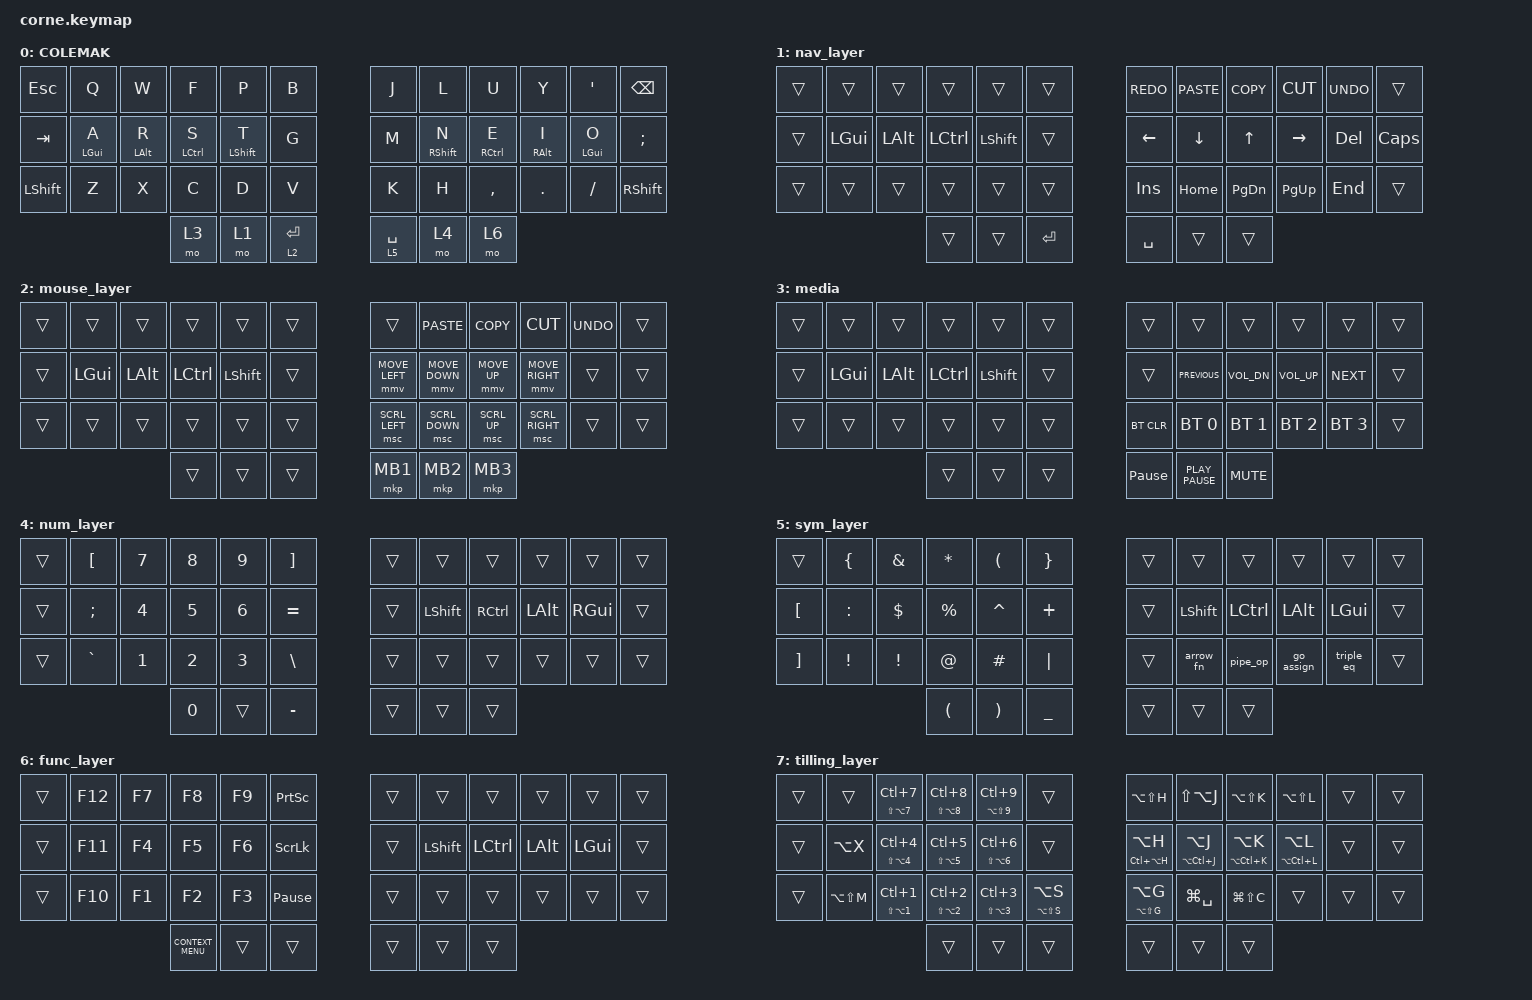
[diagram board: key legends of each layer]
/*
 * José's Corne 42-Key ZMK Configuration
 * =====================================
 * 
 * Layout: Colemak-DH with timeless home row mods
 * Optimized for: macOS, programming (JS/TS, Go, Elixir), Aerospace window management
 * 
 * Physical Layout: 6 columns × 3 rows + 3 thumb keys per side = 42 keys
 * 
 * Layer Overview:
 * 0: COLEMAK-DH (base with HRM)
 * 1: NAV (Neovim-style navigation + editing)
 * 2: NUM (numbers + F-keys)
 * 3: SYM (symbols, optimized for coding)
 * 4: FUN (function keys, BT, media, settings)
 * 5: AERO (Aerospace window management)
 * 6: MOUSE (mouse emulation with Neovim-style movement)
 */

#include <behaviors.dtsi>
#include <dt-bindings/zmk/bt.h>
#include <dt-bindings/zmk/keys.h>
#include <dt-bindings/zmk/pointing.h>

/* Layer definitions */

#define COLEMAK 0
#define NAV     1
#define NUM     2
#define SYM     3
#define FUN     4
#define AERO    5
#define MOUSE   6

/* Key position groups for positional hold-tap (42-key Corne)
 * ╭─────┬─────┬─────┬─────┬─────┬─────╮   ╭─────┬─────┬─────┬─────┬─────┬─────╮
 * │  0  │  1  │  2  │  3  │  4  │  5  │   │  6  │  7  │  8  │  9  │ 10  │ 11  │
 * ├─────┼─────┼─────┼─────┼─────┼─────┤   ├─────┼─────┼─────┼─────┼─────┼─────┤
 * │ 12  │ 13  │ 14  │ 15  │ 16  │ 17  │   │ 18  │ 19  │ 20  │ 21  │ 22  │ 23  │
 * ├─────┼─────┼─────┼─────┼─────┼─────┤   ├─────┼─────┼─────┼─────┼─────┼─────┤
 * │ 24  │ 25  │ 26  │ 27  │ 28  │ 29  │   │ 30  │ 31  │ 32  │ 33  │ 34  │ 35  │
 * ╰─────┴─────┴─────┼─────┼─────┼─────┤   ├─────┼─────┼─────┼─────┴─────┴─────╯
 *                   │ 36  │ 37  │ 38  │   │ 39  │ 40  │ 41  │
 *                   ╰─────┴─────┴─────╯   ╰─────┴─────┴─────╯
 */

#define KEYS_L 0 1 2 3 4 5 12 13 14 15 16 17 24 25 26 27 28 29      // left hand
#define KEYS_R 6 7 8 9 10 11 18 19 20 21 22 23 30 31 32 33 34 35    // right hand
#define THUMBS 36 37 38 39 40 41                                     // thumb keys

/* Timing configurations for timeless HRM */

#define HRM_TAPPING_TERM 280
#define HRM_QUICK_TAP    175
#define COMBO_TERM       40

/* Mac-specific shortcuts */

#define MAC_UNDO   LG(Z)
#define MAC_REDO   LG(LS(Z))
#define MAC_CUT    LG(X)
#define MAC_COPY   LG(C)
#define MAC_PASTE  LG(V)
#define MAC_SELALL LG(A)
#define MAC_SAVE   LG(S)
#define MAC_FIND   LG(F)
#define MAC_QUIT   LG(Q)
#define MAC_CLOSE  LG(W)
#define MAC_TAB_L  LG(LS(LBKT))
#define MAC_TAB_R  LG(LS(RBKT))
#define MAC_SCRN   LG(LS(N4))      // Screenshot selection (Cmd+Shift+4)
#define MAC_SCRN_F LG(LS(N3))      // Screenshot full (Cmd+Shift+3)
#define MAC_RAYC   LG(SPACE)       // Raycast (Cmd+Space)
#define MAC_MACCY  LG(LS(C))       // Maccy clipboard (Cmd+Shift+C)

/ {
    /* ========================================
     * BEHAVIORS - Custom tap-hold behaviors
     * ======================================== */

    behaviors {
        /* Timeless Home Row Mods - Left hand */

        hml: home_row_mod_left {
            compatible = "zmk,behavior-hold-tap";
            #binding-cells = <2>;
            flavor = "balanced";
            tapping-term-ms = <HRM_TAPPING_TERM>;
            quick-tap-ms = <HRM_QUICK_TAP>;
            require-prior-idle-ms = <150>;
            bindings = <&kp>, <&kp>;

            hold-trigger-key-positions = <KEYS_R THUMBS>;
            hold-trigger-on-release;
        };

        /* Timeless Home Row Mods - Right hand */

        hmr: home_row_mod_right {
            compatible = "zmk,behavior-hold-tap";
            #binding-cells = <2>;
            flavor = "balanced";
            tapping-term-ms = <HRM_TAPPING_TERM>;
            quick-tap-ms = <HRM_QUICK_TAP>;
            require-prior-idle-ms = <150>;
            bindings = <&kp>, <&kp>;

            hold-trigger-key-positions = <KEYS_L THUMBS>;
            hold-trigger-on-release;
        };

        /* Home Row Mod for Shift - no prior idle requirement for CamelCase */

        hms: home_row_mod_shift {
            compatible = "zmk,behavior-hold-tap";
            #binding-cells = <2>;
            flavor = "balanced";
            tapping-term-ms = <HRM_TAPPING_TERM>;
            quick-tap-ms = <HRM_QUICK_TAP>;
            bindings = <&kp>, <&kp>;

            hold-trigger-on-release;
        };

        /* Layer tap with quick-tap for key repeat */

        ltq: layer_tap_quick {
            compatible = "zmk,behavior-hold-tap";
            #binding-cells = <2>;
            flavor = "balanced";
            tapping-term-ms = <200>;
            quick-tap-ms = <200>;
            bindings = <&mo>, <&kp>;
        };

        /* Sticky key with quick release */

        skq: sticky_key_quick {
            compatible = "zmk,behavior-sticky-key";
            #binding-cells = <1>;
            bindings = <&kp>;
            release-after-ms = <1000>;
            quick-release;
            ignore-modifiers;
        };

        /* Caps word - stays active for SNAKE_CASE typing */

        caps_word: caps_word {
            compatible = "zmk,behavior-caps-word";
            #binding-cells = <0>;
            continue-list = <UNDERSCORE MINUS BACKSPACE DELETE N1 N2 N3 N4 N5 N6 N7 N8 N9 N0>;
        };

        /* Shift + Space = Underscore (useful for snake_case) */

        spc_under: space_underscore {
            compatible = "zmk,behavior-mod-morph";
            #binding-cells = <0>;
            bindings = <&kp SPACE>, <&kp UNDERSCORE>;

            mods = <(MOD_LSFT|MOD_RSFT)>;
        };

        /* Comma → Semicolon when shifted */

        comma_semi: comma_semicolon {
            compatible = "zmk,behavior-mod-morph";
            #binding-cells = <0>;
            bindings = <&kp COMMA>, <&kp SEMICOLON>;

            mods = <(MOD_LSFT|MOD_RSFT)>;
        };

        /* Dot → Colon when shifted */

        dot_colon: dot_colon {
            compatible = "zmk,behavior-mod-morph";
            #binding-cells = <0>;
            bindings = <&kp DOT>, <&kp COLON>;

            mods = <(MOD_LSFT|MOD_RSFT)>;
        };

        /* Slash → Backslash when shifted */

        slash_bslh: slash_backslash {
            compatible = "zmk,behavior-mod-morph";
            #binding-cells = <0>;
            bindings = <&kp FSLH>, <&kp BSLH>;

            mods = <(MOD_LSFT|MOD_RSFT)>;
        };

        /* Quote → Double quote when shifted */

        sqt_dqt: single_double_quote {
            compatible = "zmk,behavior-mod-morph";
            #binding-cells = <0>;
            bindings = <&kp SQT>, <&kp DQT>;

            mods = <(MOD_LSFT|MOD_RSFT)>;
        };

        /* Minus (tap) → Em-dash (hold) - Mac em-dash is Shift+Alt+Minus */

        minus_emdash: minus_emdash {
            compatible = "zmk,behavior-hold-tap";
            #binding-cells = <2>;
            flavor = "tap-preferred";
            tapping-term-ms = <200>;
            bindings = <&kp>, <&kp>;
        };
    };

    /* ========================================
     * MACROS - Programming shortcuts
     * ======================================== */

    macros {
        /* Arrow function => */

        arrow_fn: arrow_fn {
            compatible = "zmk,behavior-macro";
            #binding-cells = <0>;
            wait-ms = <10>;
            tap-ms = <10>;
            bindings = <&kp EQUAL &kp GT &kp SPACE>;
        };

        /* Pipe operator |> (Elixir) */

        pipe_op: pipe_operator {
            compatible = "zmk,behavior-macro";
            #binding-cells = <0>;
            wait-ms = <10>;
            tap-ms = <10>;
            bindings = <&kp PIPE &kp GT &kp SPACE>;
        };

        /* Go assignment := */

        go_assign: go_assign {
            compatible = "zmk,behavior-macro";
            #binding-cells = <0>;
            wait-ms = <10>;
            tap-ms = <10>;
            bindings = <&kp COLON &kp EQUAL &kp SPACE>;
        };

        /* Channel operator <- (Go) */

        chan_op: channel_operator {
            compatible = "zmk,behavior-macro";
            #binding-cells = <0>;
            wait-ms = <10>;
            tap-ms = <10>;
            bindings = <&kp LT &kp MINUS>;
        };

        /* String concat <> (Elixir) */

        concat_op: concat_operator {
            compatible = "zmk,behavior-macro";
            #binding-cells = <0>;
            wait-ms = <10>;
            tap-ms = <10>;
            bindings = <&kp LT &kp GT>;
        };

        /* Triple equals === (JS) */

        triple_eq: triple_equals {
            compatible = "zmk,behavior-macro";
            #binding-cells = <0>;
            wait-ms = <10>;
            tap-ms = <10>;
            bindings = <&kp EQUAL &kp EQUAL &kp EQUAL>;
        };

        /* Not equals !== (JS) */

        not_eq: not_equals {
            compatible = "zmk,behavior-macro";
            #binding-cells = <0>;
            wait-ms = <10>;
            tap-ms = <10>;
            bindings = <&kp EXCL &kp EQUAL &kp EQUAL>;
        };

        /* Template literal ${ (JS) */

        tmpl_lit: template_literal {
            compatible = "zmk,behavior-macro";
            #binding-cells = <0>;
            wait-ms = <10>;
            tap-ms = <10>;
            bindings = <&kp DLLR &kp LBRC>;
        };

        /* Console.log() */

        cons_log: console_log {
            compatible = "zmk,behavior-macro";
            #binding-cells = <0>;
            wait-ms = <10>;
            tap-ms = <10>;
            bindings = <&kp C &kp O &kp N &kp S &kp O &kp L &kp E &kp DOT &kp L &kp O &kp G &kp LPAR>;
        };

        /* fmt.Println() - Go */

        fmt_print: fmt_println {
            compatible = "zmk,behavior-macro";
            #binding-cells = <0>;
            wait-ms = <10>;
            tap-ms = <10>;
            bindings = <&kp F &kp M &kp T &kp DOT &kp LS(P) &kp R &kp I &kp N &kp T &kp L &kp N &kp LPAR>;
        };

        /* IO.inspect() - Elixir */

        io_insp: io_inspect {
            compatible = "zmk,behavior-macro";
            #binding-cells = <0>;
            wait-ms = <10>;
            tap-ms = <10>;
            bindings = <&kp LS(I) &kp LS(O) &kp DOT &kp I &kp N &kp S &kp P &kp E &kp C &kp T &kp LPAR>;
        };

        /* Em-dash — (Mac: Shift+Alt+Minus) */

        emdash: emdash {
            compatible = "zmk,behavior-macro";
            #binding-cells = <0>;
            wait-ms = <10>;
            tap-ms = <10>;
            bindings = <&kp LS(LA(MINUS))>;
        };

        /* En-dash – (Mac: Alt+Minus) */

        endash: endash {
            compatible = "zmk,behavior-macro";
            #binding-cells = <0>;
            wait-ms = <10>;
            tap-ms = <10>;
            bindings = <&kp LA(MINUS)>;
        };
    };

    /* ========================================
     * COMBOS - Press two keys simultaneously
     * ======================================== */

    combos {
        compatible = "zmk,combos";

        /* Escape: Q + W */

        combo_esc {
            timeout-ms = <COMBO_TERM>;
            key-positions = <1 2>;
            bindings = <&kp ESC>;
            layers = <0>;
        };

        /* Caps Word: T + N (index fingers) */

        combo_caps_word {
            timeout-ms = <COMBO_TERM>;
            key-positions = <16 19>;
            bindings = <&caps_word>;
            layers = <0>;
        };

        /* Delete word: Backspace position area */

        combo_del_word {
            timeout-ms = <COMBO_TERM>;
            key-positions = <10 11>;
            bindings = <&kp LA(BSPC)>;
            layers = <0>;
        };

        /* Mouse layer toggle: X + C */

        combo_mouse {
            timeout-ms = <50>;
            key-positions = <26 27>;
            bindings = <&tog 0>;
            layers = <0>;
        };

        /* ---- Bracket combos for quick access ---- */
        /* Parentheses () - vertical combos on F/S and U/E */

        combo_lpar {
            timeout-ms = <COMBO_TERM>;
            key-positions = <3 15>;
            bindings = <&kp LPAR>;
            layers = <0>;
        };

        combo_rpar {
            timeout-ms = <COMBO_TERM>;
            key-positions = <8 20>;
            bindings = <&kp RPAR>;
            layers = <0>;
        };

        /* Brackets [] - vertical combos on P/T and Y/I */

        combo_lbkt {
            timeout-ms = <COMBO_TERM>;
            key-positions = <4 16>;
            bindings = <&kp LBKT>;
            layers = <0>;
        };

        combo_rbkt {
            timeout-ms = <COMBO_TERM>;
            key-positions = <9 21>;
            bindings = <&kp RBKT>;
            layers = <0>;
        };

        /* Braces {} - vertical combos on B/G and J/M */

        combo_lbrc {
            timeout-ms = <COMBO_TERM>;
            key-positions = <5 17>;
            bindings = <&kp LBRC>;
            layers = <0>;
        };

        combo_rbrc {
            timeout-ms = <COMBO_TERM>;
            key-positions = <6 18>;
            bindings = <&kp RBRC>;
            layers = <0>;
        };

        /* Arrow function => (U + Y) */

        combo_arrow {
            timeout-ms = <COMBO_TERM>;
            key-positions = <8 9>;
            bindings = <&arrow_fn>;
            layers = <0>;
        };

        /* Pipe operator |> (H + ,) */

        combo_pipe {
            timeout-ms = <COMBO_TERM>;
            key-positions = <31 32>;
            bindings = <&pipe_op>;
            layers = <0>;
        };

        /* Go assign := (N + E) */

        combo_go_assign {
            timeout-ms = <COMBO_TERM>;
            key-positions = <19 20>;
            bindings = <&go_assign>;
            layers = <0>;
        };

        /* Template literal ${ (L + U) */

        combo_template {
            timeout-ms = <COMBO_TERM>;
            key-positions = <7 8>;
            bindings = <&tmpl_lit>;
            layers = <0>;
        };

        /* Raycast: G + M (inner columns) */

        combo_raycast {
            timeout-ms = <COMBO_TERM>;
            key-positions = <17 18>;
            bindings = <&kp LG(SPACE)>;
            layers = <0>;
        };

        /* Maccy clipboard: C + D */

        combo_maccy {
            timeout-ms = <COMBO_TERM>;
            key-positions = <27 28>;
            bindings = <&kp LG(LS(C))>;
            layers = <0>;
        };

        /* Screenshot selection: W + F */

        combo_screenshot {
            timeout-ms = <COMBO_TERM>;
            key-positions = <2 3>;
            bindings = <&kp PRINTSCREEN>;
            layers = <0>;
        };

        /* Em-dash: , + . */

        combo_emdash {
            timeout-ms = <COMBO_TERM>;
            key-positions = <32 33>;
            bindings = <&emdash>;
            layers = <0>;
        };

        /* Copy: Quick access D + V */

        combo_copy {
            timeout-ms = <COMBO_TERM>;
            key-positions = <28 29>;
            bindings = <&kp K_COPY>;
            layers = <0>;
        };

        /* Paste: Quick access C + V */

        combo_paste {
            timeout-ms = <COMBO_TERM>;
            key-positions = <27 29>;
            bindings = <&kp K_PASTE>;
            layers = <0>;
        };

        /* Undo: Z + X */

        combo_undo {
            timeout-ms = <COMBO_TERM>;
            key-positions = <25 26>;
            bindings = <&kp K_UNDO>;
            layers = <0>;
        };
    };

    /* ========================================
     * CONDITIONAL LAYERS
     * ======================================== */

    conditional_layers {
        compatible = "zmk,conditional-layers";

        /* NAV + SYM = FUN layer */
        /* NUM + SYM = AERO layer */

        tilling_layer {
            if-layers = <1 4>;
            then-layer = <7>;
        };
    };

    /* ========================================
     * KEYMAP LAYERS
     * ======================================== */

    keymap {
        compatible = "zmk,keymap";

        /* ----------------------------------------
         * Layer 0: COLEMAK-DH (Base)
         * ----------------------------------------
         * ╭──────┬──────┬──────┬──────┬──────┬──────╮   ╭──────┬──────┬──────┬──────┬──────┬──────╮
         * │ TAB  │  Q   │  W   │  F   │  P   │  B   │   │  J   │  L   │  U   │  Y   │  '   │ BSPC │
         * ├──────┼──────┼──────┼──────┼──────┼──────┤   ├──────┼──────┼──────┼──────┼──────┼──────┤
         * │ ESC  │A/GUI │R/ALT │S/CTL │T/SFT │  G   │   │  M   │N/SFT │E/CTL │I/ALT │O/GUI │  ;   │
         * ├──────┼──────┼──────┼──────┼──────┼──────┤   ├──────┼──────┼──────┼──────┼──────┼──────┤
         * │SHIFT │  Z   │  X   │  C   │  D   │  V   │   │  K   │  H   │  ,   │  .   │  /   │SHIFT │
         * ╰──────┴──────┴──────┼──────┼──────┼──────┤   ├──────┼──────┼──────┴──────┴──────┴──────╯
         *                      │ NUM  │ NAV  │ENTER │   │SPACE │ SYM  │ AERO │
         *                      ╰──────┴──────┴──────╯   ╰──────┴──────┴──────╯
         * 
         * Home Row Mods (GACS): GUI → Alt → Ctrl → Shift
         * Enter on LEFT thumb, Space on RIGHT thumb (per your preference)
         */

        colemak_layer {
            display-name = "COLEMAK";
            bindings = <
&kp ESC    &kp Q        &kp W        &kp F         &kp P         &kp B          &kp J        &kp L         &kp U         &kp Y        &kp SINGLE_QUOTE  &kp BSPC
&kp TAB    &hml LGUI A  &hml LALT R  &hml LCTRL S  &hms LSHFT T  &kp G          &kp M        &hms RSHFT N  &hmr RCTRL E  &hmr RALT I  &hmr LEFT_GUI O   &kp SEMI
&kp LSHFT  &kp Z        &kp X        &kp C         &kp D         &kp V          &kp K        &kp H         &kp COMMA     &kp DOT      &kp SLASH         &kp RSHFT
                                     &mo 3         &mo 1         &lt 2 ENTER    &lt 5 SPACE  &mo 4         &mo 6
            >;
        };

        /* ----------------------------------------
         * Layer 1: NAV (Navigation - Neovim style)
         * ----------------------------------------
         * ╭──────┬──────┬──────┬──────┬──────┬──────╮   ╭──────┬──────┬──────┬──────┬──────┬──────╮
         * │      │ QUIT │CLOSE │ FIND │SCRN  │RAYC  │   │ REDO │PASTE │ COPY │ CUT  │ UNDO │ DEL  │
         * ├──────┼──────┼──────┼──────┼──────┼──────┤   ├──────┼──────┼──────┼──────┼──────┼──────┤
         * │      │ GUI  │ ALT  │ CTRL │SHIFT │MACCY │   │  ←   │  ↓   │  ↑   │  →   │ DEL  │      │
         * ├──────┼──────┼──────┼──────┼──────┼──────┤   ├──────┼──────┼──────┼──────┼──────┼──────┤
         * │      │ SELAL│ SAVE │TAB_L │TAB_R │      │   │ HOME │ PGDN │ PGUP │ END  │ INS  │      │
         * ╰──────┴──────┴──────┼──────┼──────┼──────┤   ├──────┼──────┼──────┴──────┴──────┴──────╯
         *                      │      │ #### │      │   │      │      │      │
         *                      ╰──────┴──────┴──────╯   ╰──────┴──────┴──────╯
         * 
         * HJKL navigation in Neovim positions (MNEI in Colemak = arrow positions)
         */
        /* ----------------------------------------
         * Layer 2: NUM (Numbers + F-keys)
         * ----------------------------------------
         * ╭──────┬──────┬──────┬──────┬──────┬──────╮   ╭──────┬──────┬──────┬──────┬──────┬──────╮
         * │  `   │  1   │  2   │  3   │  4   │  5   │   │  6   │  7   │  8   │  9   │  0   │      │
         * ├──────┼──────┼──────┼──────┼──────┼──────┤   ├──────┼──────┼──────┼──────┼──────┼──────┤
         * │  ~   │ F1   │ F2   │ F3   │ F4   │ F5   │   │ F6   │ F7   │ F8   │ F9   │ F10  │      │
         * ├──────┼──────┼──────┼──────┼──────┼──────┤   ├──────┼──────┼──────┼──────┼──────┼──────┤
         * │      │ F11  │ F12  │  –   │  —   │      │   │ -/—  │  =   │  ,   │  .   │  /   │      │
         * ╰──────┴──────┴──────┼──────┼──────┼──────┤   ├──────┼──────┼──────┴──────┴──────┴──────╯
         *                      │ #### │      │      │   │      │      │      │
         *                      ╰──────┴──────┴──────╯   ╰──────┴──────┴──────╯
         * 
         * Note: Minus key (hold) = Em-dash (—), also en-dash (–) available
         */
        /* ----------------------------------------
         * Layer 3: SYM (Symbols - Programming optimized)
         * ----------------------------------------
         * ╭──────┬──────┬──────┬──────┬──────┬──────╮   ╭──────┬──────┬──────┬──────┬──────┬──────╮
         * │      │  !   │  @   │  #   │  $   │  %   │   │  ^   │  &   │  *   │  `   │  ~   │      │
         * ├──────┼──────┼──────┼──────┼──────┼──────┤   ├──────┼──────┼──────┼──────┼──────┼──────┤
         * │      │  {   │  [   │  (   │  <   │  -   │   │  =   │  >   │  )   │  ]   │  }   │      │
         * ├──────┼──────┼──────┼──────┼──────┼──────┤   ├──────┼──────┼──────┼──────┼──────┼──────┤
         * │      │  \   │  |   │  _   │  +   │ :=   │   │ ===  │  '   │  "   │  ;   │  :   │      │
         * ╰──────┴──────┴──────┼──────┼──────┼──────┤   ├──────┼──────┼──────┴──────┴──────┴──────╯
         *                      │      │      │      │   │      │ #### │      │
         *                      ╰──────┴──────┴──────╯   ╰──────┴──────┴──────╯
         * 
         * Design: Opening brackets on left, closing on right
         * Programming operators in easy reach
         */
        /* ----------------------------------------
         * Layer 4: FUN (Function + Settings)
         * ----------------------------------------
         * Bluetooth, media, system controls
         * Activated by NAV + SYM (conditional layer)
         * ╭──────┬──────┬──────┬──────┬──────┬──────╮   ╭──────┬──────┬──────┬──────┬──────┬──────╮
         * │BTCLR │ BT0  │ BT1  │ BT2  │ BT3  │ BT4  │   │      │      │      │      │      │ BOOT │
         * ├──────┼──────┼──────┼──────┼──────┼──────┤   ├──────┼──────┼──────┼──────┼──────┼──────┤
         * │ USB  │      │ MUTE │ VOL- │ VOL+ │      │   │ PREV │ PLAY │ NEXT │      │      │RESET │
         * ├──────┼──────┼──────┼──────┼──────┼──────┤   ├──────┼──────┼──────┼──────┼──────┼──────┤
         * │  EP  │      │      │ BRI- │ BRI+ │      │   │      │      │      │      │      │      │
         * ╰──────┴──────┴──────┼──────┼──────┼──────┤   ├──────┼──────┼──────┴──────┴──────┴──────╯
         *                      │      │      │      │   │      │      │      │
         *                      ╰──────┴──────┴──────╯   ╰──────┴──────┴──────╯
         */
        /* ----------------------------------------
         * Layer 5: AERO (Aerospace Window Management)
         * ----------------------------------------
         * Your familiar shortcuts from Sofle preserved
         * Access: Hold right outer thumb OR NUM + SYM
         * ╭──────┬──────┬──────┬──────┬──────┬──────╮   ╭──────┬──────┬──────┬──────┬──────┬──────╮
         * │      │⌃1/⌥⇧1│⌃2/⌥⇧2│⌃3/⌥⇧3│⌃4/⌥⇧4│⌃5/⌥⇧5│   │⌃6/⌥⇧6│⌃7/⌥⇧7│⌃8/⌥⇧8│⌃9/⌥⇧9│⌃0/⌥⇧0│      │
         * ├──────┼──────┼──────┼──────┼──────┼──────┤   ├──────┼──────┼──────┼──────┼──────┼──────┤
         * │      │⌥⇧H  │⌥⇧J  │⌥⇧K  │⌥⇧L  │      │   │⌥H/⌥⌃H│⌥J/⌥⌃J│⌥K/⌥⌃K│⌥L/⌥⌃L│      │      │
         * ├──────┼──────┼──────┼──────┼──────┼──────┤   ├──────┼──────┼──────┼──────┼──────┼──────┤
         * │      │ ⌥E   │      │⌥⇧B  │⌥⇧T  │⌥S/⌥⇧S│   │⌥G/⌥⇧G│⌥⇧M  │ ⌥X   │      │      │      │
         * ╰──────┴──────┴──────┼──────┼──────┼──────┤   ├──────┼──────┼──────┴──────┴──────┴──────╯
         *                      │      │      │      │   │      │      │ #### │
         *                      ╰──────┴──────┴──────╯   ╰──────┴──────┴──────╯
         * 
         * Top Row: Tap = Ctrl+N (switch to space N) / Hold = Alt+Shift+N (move window to space N)
         * Row 2 Left: Alt+Shift+HJKL moves windows
         * Row 2 Right: Alt+HJKL focuses (tap) / Alt+Ctrl+HJKL resizes (hold)
         */
        /* ----------------------------------------
         * Layer 6: MOUSE (Neovim-style movement)
         * ----------------------------------------
         * Toggle with X + C combo
         * Movement mirrors HJKL (Neovim style)
         * ╭──────┬──────┬──────┬──────┬──────┬──────╮   ╭──────┬──────┬──────┬──────┬──────┬──────╮
         * │      │      │      │      │      │      │   │      │      │      │      │      │      │
         * ├──────┼──────┼──────┼──────┼──────┼──────┤   ├──────┼──────┼──────┼──────┼──────┼──────┤
         * │      │ GUI  │ ALT  │ CTRL │SHIFT │      │   │  ←   │  ↓   │  ↑   │  →   │      │      │
         * ├──────┼──────┼──────┼──────┼──────┼──────┤   ├──────┼──────┼──────┼──────┼──────┼──────┤
         * │      │      │ EXIT │      │      │      │   │ SC←  │ SC↓  │ SC↑  │ SC→  │      │      │
         * ╰──────┴──────┴──────┼──────┼──────┼──────┤   ├──────┼──────┼──────┴──────┴──────┴──────╯
         *                      │ MB3  │ MB1  │ MB1  │   │ MB2  │ MB1  │ EXIT │
         *                      ╰──────┴──────┴──────╯   ╰──────┴──────┴──────╯
         */

        nav_layer {
            bindings = <
&trans  &trans        &trans        &trans     &trans          &trans       &kp K_REDO  &kp K_PASTE  &kp K_COPY     &kp K_CUT        &kp K_UNDO  &trans
&trans  &kp LEFT_GUI  &kp LEFT_ALT  &kp LCTRL  &kp LEFT_SHIFT  &trans       &kp LEFT    &kp DOWN     &kp UP_ARROW   &kp RIGHT_ARROW  &kp DELETE  &kp CAPSLOCK
&trans  &trans        &trans        &trans     &trans          &trans       &kp INSERT  &kp HOME     &kp PAGE_DOWN  &kp PAGE_UP      &kp END     &trans
                                    &trans     &trans          &kp ENTER    &kp SPACE   &trans       &trans
            >;
        };

        mouse_layer {
            bindings = <
&trans  &trans        &trans        &trans     &trans          &trans    &trans          &kp K_PASTE     &kp K_COPY    &kp K_CUT        &kp K_UNDO  &trans
&trans  &kp LEFT_GUI  &kp LEFT_ALT  &kp LCTRL  &kp LEFT_SHIFT  &trans    &mmv MOVE_LEFT  &mmv MOVE_DOWN  &mmv MOVE_UP  &mmv MOVE_RIGHT  &trans      &trans
&trans  &trans        &trans        &trans     &trans          &trans    &msc SCRL_LEFT  &msc SCRL_DOWN  &msc SCRL_UP  &msc SCRL_RIGHT  &trans      &trans
                                    &trans     &trans          &trans    &mkp MB1        &mkp MB2        &mkp MB3
            >;
        };

        media {
            bindings = <
&trans  &trans        &trans        &trans     &trans          &trans    &trans           &trans            &trans        &trans           &trans        &trans
&trans  &kp LEFT_GUI  &kp LEFT_ALT  &kp LCTRL  &kp LEFT_SHIFT  &trans    &trans           &kp C_PREVIOUS    &kp C_VOL_DN  &kp C_VOLUME_UP  &kp C_NEXT    &trans
&trans  &trans        &trans        &trans     &trans          &trans    &bt BT_CLR       &bt BT_SEL 0      &bt BT_SEL 1  &bt BT_SEL 2     &bt BT_SEL 3  &trans
                                    &trans     &trans          &trans    &kp PAUSE_BREAK  &kp K_PLAY_PAUSE  &kp K_MUTE
            >;
        };

        num_layer {
            bindings = <
&trans  &kp LEFT_BRACKET  &kp NUMBER_7  &kp NUMBER_8  &kp NUMBER_9  &kp RIGHT_BRACKET    &trans  &trans          &trans     &trans        &trans         &trans
&trans  &kp SEMI          &kp NUMBER_4  &kp NUMBER_5  &kp NUMBER_6  &kp EQUAL            &trans  &kp LEFT_SHIFT  &kp RCTRL  &kp LEFT_ALT  &kp RIGHT_GUI  &trans
&trans  &kp GRAVE         &kp NUMBER_1  &kp NUMBER_2  &kp NUMBER_3  &kp BACKSLASH        &trans  &trans          &trans     &trans        &trans         &trans
                                        &kp NUMBER_0  &trans        &kp MINUS            &trans  &trans          &trans
            >;
        };

        sym_layer {
            bindings = <
&trans             &kp LEFT_BRACE   &kp AMPERSAND    &kp ASTERISK          &kp LEFT_PARENTHESIS   &kp RIGHT_BRACE    &trans  &trans          &trans     &trans        &trans        &trans
&kp LEFT_BRACKET   &kp COLON        &kp DOLLAR       &kp PERCENT           &kp CARET              &kp PLUS           &trans  &kp LEFT_SHIFT  &kp LCTRL  &kp LEFT_ALT  &kp LEFT_GUI  &trans
&kp RIGHT_BRACKET  &kp EXCLAMATION  &kp EXCLAMATION  &kp AT_SIGN           &kp HASH               &kp PIPE           &trans  &arrow_fn       &pipe_op   &go_assign    &triple_eq    &trans
                                                     &kp LEFT_PARENTHESIS  &kp RIGHT_PARENTHESIS  &kp UNDER          &trans  &trans          &trans
            >;
        };

        func_layer {
            bindings = <
&trans  &kp F12  &kp F7  &kp F8              &kp F9  &kp PRINTSCREEN    &trans  &trans          &trans     &trans        &trans        &trans
&trans  &kp F11  &kp F4  &kp F5              &kp F6  &kp SCROLLLOCK     &trans  &kp LEFT_SHIFT  &kp LCTRL  &kp LEFT_ALT  &kp LEFT_GUI  &trans
&trans  &kp F10  &kp F1  &kp F2              &kp F3  &kp PAUSE_BREAK    &trans  &trans          &trans     &trans        &trans        &trans
                         &kp K_CONTEXT_MENU  &trans  &trans             &trans  &trans          &trans
            >;
        };

        tilling_layer {
            bindings = <
&trans  &trans         &mt LS(LA(NUMBER_7)) LC(NUMBER_7)  &mt LS(LA(NUMBER_8)) LC(NUMBER_8)  &mt LA(LS(NUMBER_9)) LC(NUMBER_9)  &trans                 &kp LA(LS(H))        &kp LS(LA(J))        &kp LA(LS(K))        &kp LA(LS(L))        &trans  &trans
&trans  &kp LA(X)      &mt LS(LA(NUMBER_4)) LC(NUMBER_4)  &mt LS(LA(NUMBER_5)) LC(NUMBER_5)  &mt LS(LA(NUMBER_6)) LC(NUMBER_6)  &trans                 &mt LC(LA(H)) LA(H)  &mt LA(LC(J)) LA(J)  &mt LA(LC(K)) LA(K)  &mt LA(LC(L)) LA(L)  &trans  &trans
&trans  &kp LA(LS(M))  &mt LS(LA(NUMBER_1)) LC(NUMBER_1)  &mt LS(LA(NUMBER_2)) LC(NUMBER_2)  &mt LS(LA(NUMBER_3)) LC(NUMBER_3)  &mt LA(LS(S)) LA(S)    &mt LA(LS(G)) LA(G)  &kp LG(SPACE)        &kp LG(LS(C))        &trans               &trans  &trans
                                                          &trans                             &trans                             &trans                 &trans               &trans               &trans
            >;
        };
    };
};
